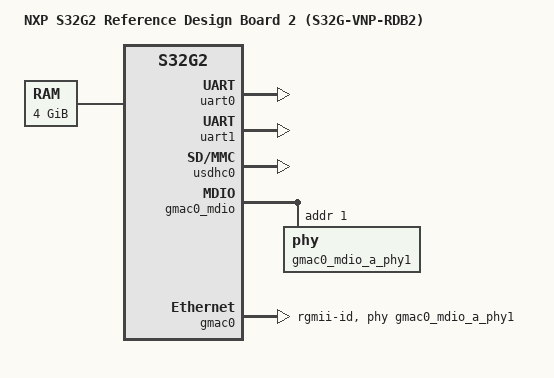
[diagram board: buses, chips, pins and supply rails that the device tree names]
// SPDX-License-Identifier: GPL-2.0-or-later OR MIT
/*
 * Copyright (c) 2021 SUSE LLC
 * Copyright (c) 2019-2021 NXP
 */

/dts-v1/;

#include "s32g2.dtsi"

/ {
	model = "NXP S32G2 Reference Design Board 2 (S32G-VNP-RDB2)";
	compatible = "nxp,s32g274a-rdb2", "nxp,s32g2";

	aliases {
		serial0 = &uart0;
		serial1 = &uart1;
	};

	chosen {
		stdout-path = "serial0:115200n8";
	};

	/* 4GiB RAM */
	memory@80000000 {
		device_type = "memory";
		reg = <0x0 0x80000000 0 0x80000000>,
		      <0x8 0x80000000 0 0x80000000>;
	};
};

/* UART (J2) to Micro USB port */
&uart0 {
	status = "okay";
};

/* UART (J1) to Micro USB port */
&uart1 {
	status = "okay";
};

&usdhc0 {
	status = "okay";
};

&pinctrl0 {
	pinctrl0_gmac0_mdio_a: gmac0mdioagrp {
		fsl,pins = <
			S32G2_PD12_GMAC0_MDC
			S32G2_PD13_GMAC0_MDIO_OUT
			S32G2_PD13_GMAC0_MDIO_IN
		>;
	};

	pinctrl0_gmac0_rgmii_a: gmac0rgmiiagrp {
		fsl,pins = <
			S32G2_PE2_GMAC0_TXCLK_OUT
			S32G2_PE2_GMAC0_TXCLK_IN
			S32G2_PE3_GMAC0_TXEN_OUT
			S32G2_PE4_GMAC0_TXD0_OUT
			S32G2_PE5_GMAC0_TXD1_OUT
			S32G2_PE6_GMAC0_TXD2_OUT
			S32G2_PE7_GMAC0_TXD3_OUT
			S32G2_PE8_GMAC0_RXCLK_OUT
			S32G2_PE8_GMAC0_RXCLK_IN
			S32G2_PE9_GMAC0_RXDV_OUT
			S32G2_PE9_GMAC0_RXDV_IN
			S32G2_PE10_GMAC0_RXD0_OUT
			S32G2_PE10_GMAC0_RXD0_IN
			S32G2_PE11_GMAC0_RXD1_OUT
			S32G2_PE11_GMAC0_RXD1_IN
			S32G2_PE12_GMAC0_RXD2_OUT
			S32G2_PE12_GMAC0_RXD2_IN
			S32G2_PE13_GMAC0_RXD3_OUT
			S32G2_PE13_GMAC0_RXD3_IN
		>;
	};
};

&gmac0_mdio {
	/* KSZ9031 GMAC */
	gmac0_mdio_a_phy1: phy@1 {
		reg = <1>;
	};
};

&gmac0 {
	pinctrl-names = "default";
	pinctrl-0 = <&pinctrl0_gmac0_mdio_a>, <&pinctrl0_gmac0_rgmii_a>;
	phy-mode = "rgmii-id";
	status = "okay";
	/* Connected to KSZ9031 MDIO_A */
	phy-handle = <&gmac0_mdio_a_phy1>;
};
